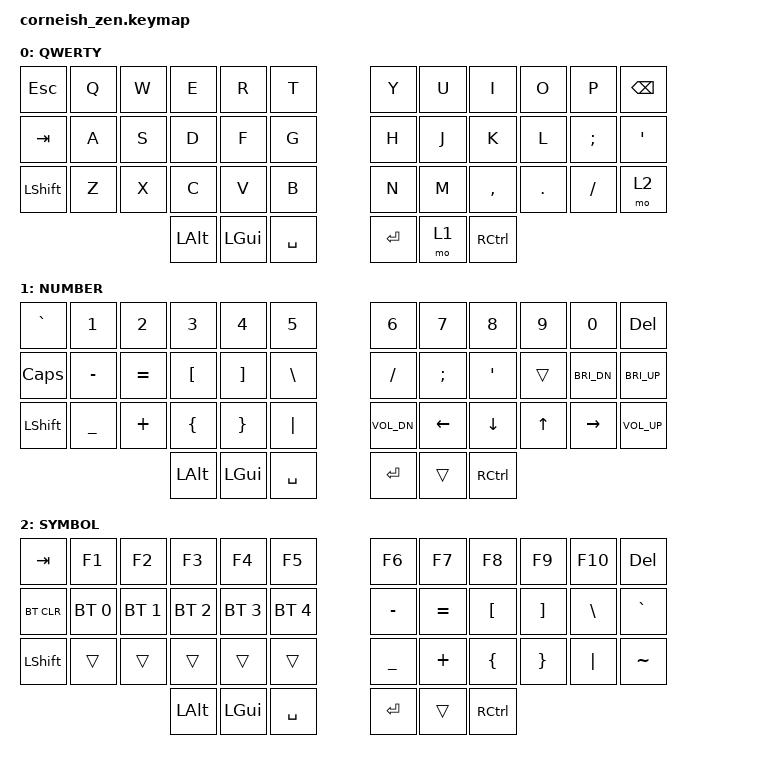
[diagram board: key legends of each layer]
#include <behaviors.dtsi>
#include <dt-bindings/zmk/keys.h>
#include <dt-bindings/zmk/bt.h>

/ {
  chosen {
    zmk,matrix_transform = &default_transform;
    //zmk,matrix_transform = &five_column_transform;
  };
};

/ {
        keymap {
                compatible = "zmk,keymap";

                default_layer {
                        label = "QWERTY";
// -----------------------------------------------------------------------------------------
// |  ESC |  Q  |  W  |  E  |  R  |  T  |   |  Y  |  U   |  I  |  O  |  P  | BKSP |
// | TAB  |  A  |  S  |  D  |  F  |  G  |   |  H  |  J   |  K  |  L  |  ;  |  '   |
// | SHFT |  Z  |  X  |  C  |  V  |  B  |   |  N  |  M   |  ,  |  .  |  /  | RSE  |
//                    | ALT | GUI | SPC |   | ENT | LWR  | CTL |
                        bindings = <
   &kp ESC   &kp Q &kp W &kp E &kp R &kp T   &kp Y &kp U  &kp I     &kp O   &kp P    &kp BSPC
   &kp TAB   &kp A &kp S &kp D &kp F &kp G   &kp H &kp J  &kp K     &kp L   &kp SEMI &kp SQT
   &kp LSHFT &kp Z &kp X &kp C &kp V &kp B   &kp N &kp M  &kp COMMA &kp DOT &kp FSLH &mo 2
                  &kp LALT &kp LGUI &kp SPACE   &kp RET &mo 1 &kp RCTRL
                        >;
                };
                lower_layer {
                        label = "NUMBER";
// -----------------------------------------------------------------------------------------
// |  `   |  1  |  2  |  3  |  4  |  5  |   |  6   |  7  |  8  |  9  |  0             | DEL  |
// | CAPS |  -  |  =  |  [  |  ]  |  \  |   |  /   |  ;  |  '  |     |  Brightness DN |  Brightness UP  |
// | SHFT |  _  |  +  |  {  |  }  | "|" |   | V_DN | DWN | LFT | DWN |  UP            |  VOL UP |
//                    | ALT | GUI | SPC |   | ENT  |     | CTL |
                        bindings = <
   &kp GRAVE  &kp N1       &kp N2       &kp N3       &kp N4       &kp N5         &kp N6   &kp N7   &kp N8 &kp N9    &kp N0 &kp DEL
   &kp CAPS   &kp MINUS    &kp EQUAL    &kp LBKT     &kp RBKT     &kp BSLH       &kp FSLH &kp SEMI &kp SQT &trans &kp C_BRI_DN &kp C_BRI_UP
   &kp LSHFT  &kp UNDER    &kp PLUS     &kp LBRC     &kp RBRC     &kp PIPE       &kp K_VOL_DN  &kp LEFT &kp DOWN &kp UP  &kp RIGHT  &kp K_VOL_UP
                          	        &kp LALT     &kp LGUI       &kp SPACE      &kp RET  &trans   &kp RCTRL
                        >;
                };

                raise_layer {
                        label = "SYMBOL";
// -----------------------------------------------------------------------------------------
// |  TAB |  F1 |  F2 |  F3 |  F4 |  F5 |   |  F6 |  F7 |  F8 |  F9 | F10 | DEL |
// | BTCLR| BT1 | BT2 | BT3 | BT4 |     |   |  -  |  =  |  [  |  ]  |  \  |  `   |
// | SHFT |     |     |     |     |     |   |  _  |  +  |  {  |  }  | "|" |  ~   |
//                    | ALT | GUI | SPC |   | ENT |     | CTL |
                        bindings = <
   &kp TAB    &kp F1       &kp F2       &kp F3       &kp F4       &kp F5            &kp F6    &kp F7    &kp F8          &kp F9   &kp F10  &kp DEL
   &bt BT_CLR &bt BT_SEL 0 &bt BT_SEL 1 &bt BT_SEL 2 &bt BT_SEL 3 &bt BT_SEL 4      &kp MINUS &kp EQUAL &kp LBKT        &kp RBKT &kp BSLH &kp GRAVE
   &kp LSHFT  &trans       &trans       &trans       &trans       &trans            &kp UNDER &kp PLUS  &kp LBRC        &kp RBRC &kp PIPE &kp TILDE
                    	     &kp LALT     &kp LGUI   &kp SPACE   &kp RET   &trans    &kp RCTRL
                        >;
                };
        };
};
